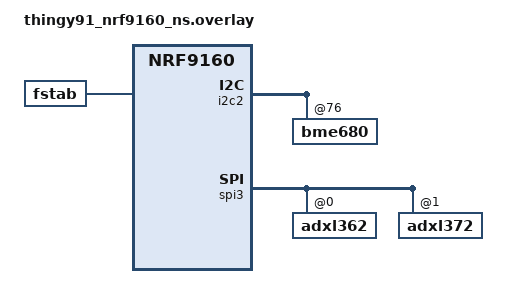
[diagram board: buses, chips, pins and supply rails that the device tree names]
/*
 * Copyright (c) 2025 Nordic Semiconductor ASA
 *
 * SPDX-License-Identifier: LicenseRef-Nordic-5-Clause
 */

/ {
	aliases {
		temp-sensor = &bme680;
		humidity-sensor = &bme680;
		pressure-sensor = &bme680;
		iaq-sensor = &bme680;
		accelerometer = &adxl362;
		impact-sensor = &adxl372;
	};

	fstab {
		compatible = "zephyr,fstab";
		lfs1: lfs1 {
			compatible = "zephyr,fstab,littlefs";
			mount-point = "/att_storage";
			partition = <&littlefs_storage>;
			automount;
			read-size = <16>;
			prog-size = <16>;
			cache-size = <64>;
			lookahead-size = <32>;
			block-cycles = <512>;
		};
	};
};

&i2c2 {
	bme680: bme680@76 {};
};

&spi3 {
	adxl362: adxl362@0 {
		autosleep;
	};

	adxl372: adxl372@1 {
		odr = <4>;
		bw = <4>;
		hpf = <0>;
	};
};

/* Use internal flash for storage (Thingy:91 has no external flash) */
/* Partitions will be overridden by PM but needed for DTS parsing */
&flash0 {
	partitions {
		littlefs_storage: partition@fa000 {
			label = "littlefs_storage";
			reg = <0x000fa000 0x00006000>; /* 24KB at end of flash */
		};
	};
};
